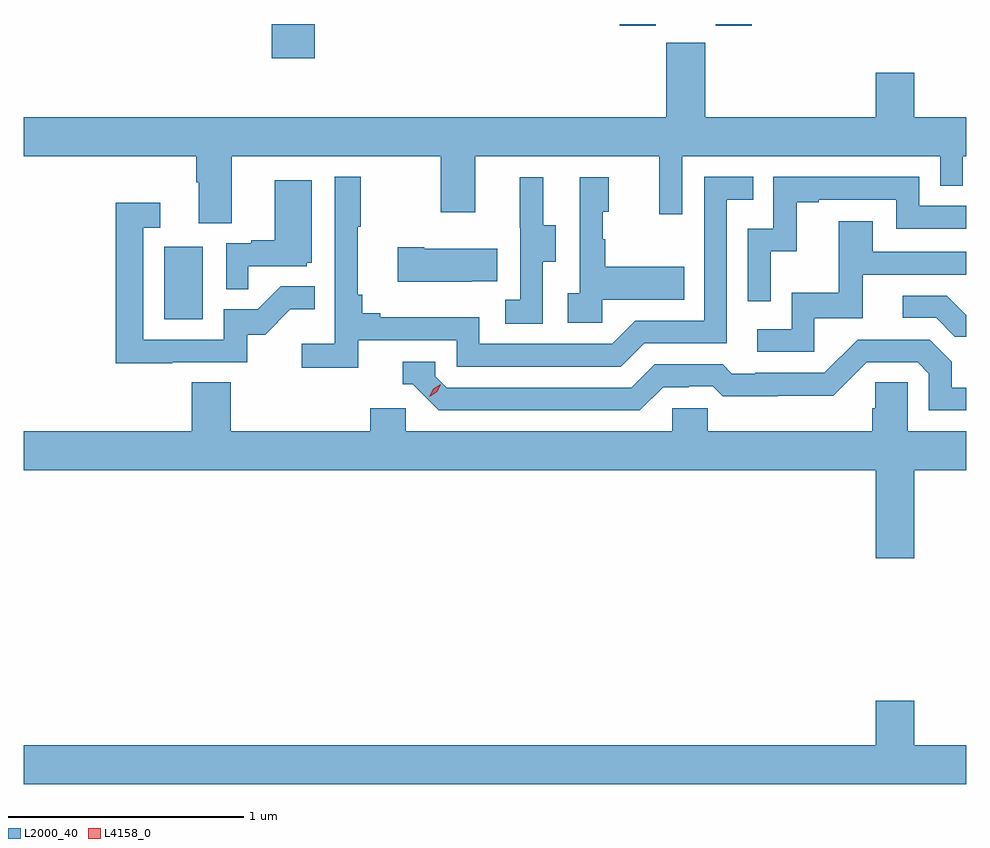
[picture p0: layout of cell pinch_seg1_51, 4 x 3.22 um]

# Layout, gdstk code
import gdstk
lib = gdstk.Library(unit=1e-6, precision=1e-09)
def R(c, l, rs):  # rectangles x0, y0, x1, y1
    for r in rs: c.add(gdstk.rectangle(r[:2], r[2:], *l))
def P(c, l, *ps):  # polygons
    for p in ps: c.add(gdstk.Polygon(p, *l))
L2000_40 = (2000, 40)
L4158_0 = (4158, 0)

pinch_seg1_51 = lib.new_cell('pinch_seg1_51')
R(pinch_seg1_51, L2000_40, [(1061.09,573.684,1061.254,573.991), (1061.546,574.791,1061.729,574.936), (1063.022,574.929,1063.174,574.936), (1063.43,574.929,1063.583,574.936)])
P(pinch_seg1_51, L2000_40, [(1061.377,574.376),(1062.262,574.376),(1062.262,574.137),(1062.409,574.137),(1062.409,574.376),(1063.19,574.376),(1063.19,574.128),(1063.287,574.128),(1063.287,574.376),(1064.382,574.376),(1064.382,574.249),(1064.478,574.249),(1064.478,574.376),(1064.493,574.376),(1064.493,574.54),(1064.272,574.54),(1064.272,574.729),(1064.108,574.729),(1064.108,574.54),(1063.384,574.54),(1063.384,574.857),(1063.22,574.857),(1063.22,574.54),(1060.493,574.54),(1060.493,574.376),(1061.225,574.376),(1061.225,574.264),(1061.237,574.264),(1061.237,574.09),(1061.377,574.09)],
  [(1061.912,573.594),(1062.33,573.594),(1062.33,573.483),(1063.027,573.483),(1063.126,573.582),(1063.476,573.582),(1063.476,574.191),(1063.589,574.191),(1063.589,574.287),(1063.38,574.287),(1063.38,573.678),(1063.089,573.678),(1062.99,573.579),(1062.426,573.579),(1062.426,573.691),(1062.007,573.691),(1062.007,573.71),(1061.93,573.71),(1061.93,573.787),(1061.911,573.787),(1061.911,574.075),(1061.923,574.075),(1061.923,574.288),(1061.814,574.288),(1061.814,573.58),(1061.673,573.58),(1061.673,573.478),(1061.912,573.478)],
  [(1063.662,573.971),(1063.772,573.971),(1063.772,574.179),(1063.867,574.179),(1063.867,574.191),(1064.196,574.191),(1064.196,574.068),(1064.493,574.068),(1064.493,574.164),(1064.292,574.164),(1064.292,574.287),(1063.674,574.287),(1063.674,574.068),(1063.566,574.068),(1063.566,573.759),(1063.662,573.759)],
  [(1062.948,573.767),(1063.295,573.767),(1063.295,573.907),(1062.961,573.907),(1062.961,574.022),(1062.951,574.022),(1062.951,574.14),(1062.976,574.14),(1062.976,574.285),(1062.852,574.285),(1062.852,573.794),(1062.801,573.794),(1062.801,573.669),(1062.948,573.669)],
  [(1062.696,573.928),(1062.751,573.928),(1062.751,574.083),(1062.697,574.083),(1062.697,574.285),(1062.599,574.285),(1062.599,574.071),(1062.6,574.071),(1062.6,573.767),(1062.537,573.767),(1062.537,573.664),(1062.696,573.664)],
  [(1061.447,573.909),(1061.694,573.909),(1061.694,573.924),(1061.716,573.924),(1061.716,574.273),(1061.558,574.273),(1061.558,574.018),(1061.459,574.018),(1061.459,574.005),(1061.352,574.005),(1061.352,573.811),(1061.447,573.811)],
  [(1061.123,573.501),(1061.442,573.501),(1061.442,573.618),(1061.518,573.618),(1061.625,573.725),(1061.729,573.725),(1061.729,573.824),(1061.585,573.824),(1061.487,573.726),(1061.343,573.726),(1061.343,573.597),(1061.001,573.597),(1061.001,574.071),(1061.074,574.071),(1061.074,574.177),(1060.885,574.177),(1060.885,573.496),(1061.123,573.496)],
  [(1063.848,573.687),(1064.053,573.687),(1064.053,573.873),(1064.493,573.873),(1064.493,573.969),(1064.095,573.969),(1064.095,574.099),(1063.951,574.099),(1063.951,573.796),(1063.752,573.796),(1063.752,573.642),(1063.605,573.642),(1063.605,573.546),(1063.848,573.546)],
  [(1062.395,573.845),(1062.503,573.845),(1062.503,573.982),(1062.193,573.982),(1062.193,573.99),(1062.081,573.99),(1062.081,573.842),(1062.395,573.842)],
  [(1064.493,573.702),(1064.491,573.702),(1064.41,573.783),(1064.223,573.783),(1064.223,573.69),(1064.364,573.69),(1064.444,573.61),(1064.493,573.61)],
  [(1063.207,573.396),(1063.314,573.396),(1063.314,573.399),(1063.417,573.399),(1063.459,573.357),(1063.692,573.357),(1063.692,573.359),(1063.928,573.359),(1064.07,573.501),(1064.286,573.501),(1064.334,573.453),(1064.334,573.297),(1064.493,573.297),(1064.493,573.393),(1064.431,573.393),(1064.431,573.503),(1064.337,573.597),(1064.031,573.597),(1063.89,573.456),(1063.597,573.456),(1063.597,573.453),(1063.498,573.453),(1063.459,573.492),(1063.17,573.492),(1063.071,573.393),(1062.288,573.393),(1062.24,573.441),(1062.24,573.504),(1062.101,573.504),(1062.101,573.408),(1062.144,573.408),(1062.255,573.297),(1063.108,573.297)],
  [(1064.272,573.044),(1064.493,573.044),(1064.493,573.208),(1064.244,573.208),(1064.244,573.416),(1064.107,573.416),(1064.107,573.306),(1064.093,573.306),(1064.093,573.208),(1063.395,573.208),(1063.395,573.306),(1063.245,573.306),(1063.245,573.208),(1062.114,573.208),(1062.114,573.306),(1061.963,573.306),(1061.963,573.208),(1061.372,573.208),(1061.372,573.416),(1061.207,573.416),(1061.207,573.208),(1060.493,573.208),(1060.493,573.044),(1064.108,573.044),(1064.108,572.67),(1064.272,572.67)],
  [(1064.493,571.876),(1064.272,571.876),(1064.272,572.065),(1064.108,572.065),(1064.108,571.876),(1060.493,571.876),(1060.493,571.712),(1064.493,571.712)])
P(pinch_seg1_51, L4158_0, [(1062.216,573.355),(1062.216,573.356),(1062.232,573.388),(1062.263,573.408),(1062.263,573.408),(1062.263,573.407),(1062.247,573.375),(1062.217,573.355)])

lib.write_gds('pinch_seg1_51.gds')
